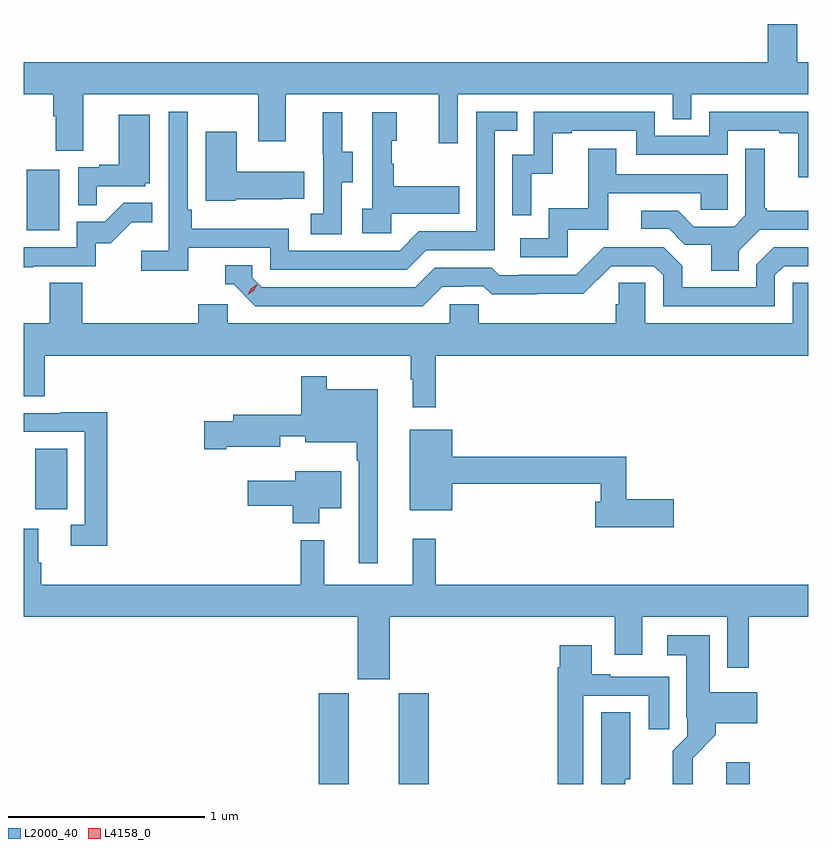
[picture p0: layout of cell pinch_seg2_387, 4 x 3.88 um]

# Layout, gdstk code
import gdstk
lib = gdstk.Library(unit=1e-6, precision=1e-09)
def R(c, l, rs):  # rectangles x0, y0, x1, y1
    for r in rs: c.add(gdstk.rectangle(r[:2], r[2:], *l))
def P(c, l, *ps):  # polygons
    for p in ps: c.add(gdstk.Polygon(p, *l))
L2000_40 = (2000, 40)
L4158_0 = (4158, 0)

pinch_seg2_387 = lib.new_cell('pinch_seg2_387')
R(pinch_seg2_387, L2000_40, [(984.434,608.156,984.586,608.619), (984.842,608.156,984.995,608.619), (986.513,608.156,986.631,608.266), (982.988,609.558,983.152,609.865), (982.946,610.98,983.11,611.287)])
P(pinch_seg2_387, L2000_40, [(983.233,611.672),(984.125,611.672),(984.125,611.433),(984.265,611.433),(984.265,611.672),(985.046,611.672),(985.046,611.424),(985.143,611.424),(985.143,611.672),(986.238,611.672),(986.238,611.545),(986.334,611.545),(986.334,611.672),(986.93,611.672),(986.93,611.836),(986.875,611.836),(986.875,612.031),(986.723,612.031),(986.723,611.836),(982.93,611.836),(982.93,611.672),(983.081,611.672),(983.081,611.56),(983.093,611.56),(983.093,611.386),(983.233,611.386)],
  [(983.768,610.89),(984.186,610.89),(984.186,610.779),(984.883,610.779),(984.982,610.878),(985.332,610.878),(985.332,611.487),(985.445,611.487),(985.445,611.583),(985.236,611.583),(985.236,610.974),(984.945,610.974),(984.846,610.875),(984.282,610.875),(984.282,610.987),(983.786,610.987),(983.786,611.083),(983.766,611.083),(983.766,611.584),(983.67,611.584),(983.67,610.876),(983.529,610.876),(983.529,610.774),(983.768,610.774)],
  [(985.518,611.267),(985.628,611.267),(985.628,611.475),(985.723,611.475),(985.723,611.487),(986.052,611.487),(986.052,611.364),(986.52,611.364),(986.52,611.487),(986.783,611.487),(986.783,611.475),(986.879,611.475),(986.879,611.249),(986.93,611.249),(986.93,611.583),(986.424,611.583),(986.424,611.46),(986.148,611.46),(986.148,611.583),(985.53,611.583),(985.53,611.364),(985.422,611.364),(985.422,611.055),(985.518,611.055)],
  [(984.804,611.063),(985.151,611.063),(985.151,611.203),(984.817,611.203),(984.817,611.318),(984.807,611.318),(984.807,611.436),(984.832,611.436),(984.832,611.581),(984.708,611.581),(984.708,611.09),(984.657,611.09),(984.657,610.965),(984.804,610.965)],
  [(984.552,611.224),(984.607,611.224),(984.607,611.379),(984.553,611.379),(984.553,611.581),(984.455,611.581),(984.455,611.367),(984.456,611.367),(984.456,611.063),(984.393,611.063),(984.393,610.96),(984.552,610.96)],
  [(983.303,611.205),(983.55,611.205),(983.55,611.22),(983.572,611.22),(983.572,611.569),(983.414,611.569),(983.414,611.314),(983.315,611.314),(983.315,611.301),(983.208,611.301),(983.208,611.107),(983.303,611.107)],
  [(984.012,611.138),(984.251,611.138),(984.251,611.141),(984.359,611.141),(984.359,611.278),(984.016,611.278),(984.016,611.482),(983.858,611.482),(983.858,611.129),(984.012,611.129)],
  [(986.575,610.876),(986.682,610.983),(986.93,610.983),(986.93,611.08),(986.719,611.08),(986.719,611.092),(986.707,611.092),(986.707,611.395),(986.61,611.395),(986.61,611.055),(986.553,610.998),(986.347,610.998),(986.266,611.079),(986.079,611.079),(986.079,610.986),(986.22,610.986),(986.3,610.906),(986.435,610.906),(986.435,610.774),(986.575,610.774)],
  [(985.704,610.983),(985.909,610.983),(985.909,611.169),(986.383,611.169),(986.383,611.085),(986.52,611.085),(986.52,611.265),(985.951,611.265),(985.951,611.395),(985.807,611.395),(985.807,611.092),(985.608,611.092),(985.608,610.938),(985.461,610.938),(985.461,610.842),(985.704,610.842)],
  [(982.979,610.797),(983.298,610.797),(983.298,610.914),(983.374,610.914),(983.481,611.021),(983.585,611.021),(983.585,611.12),(983.441,611.12),(983.343,611.022),(983.199,611.022),(983.199,610.893),(982.93,610.893),(982.93,610.792),(982.979,610.792)],
  [(985.063,610.692),(985.17,610.692),(985.17,610.695),(985.273,610.695),(985.315,610.653),(985.548,610.653),(985.548,610.655),(985.784,610.655),(985.926,610.797),(986.142,610.797),(986.19,610.749),(986.19,610.593),(986.76,610.593),(986.76,610.749),(986.808,610.797),(986.93,610.797),(986.93,610.893),(986.754,610.893),(986.664,610.803),(986.664,610.689),(986.287,610.689),(986.287,610.799),(986.193,610.893),(985.887,610.893),(985.746,610.752),(985.453,610.752),(985.453,610.749),(985.354,610.749),(985.315,610.788),(985.026,610.788),(984.927,610.689),(984.144,610.689),(984.096,610.737),(984.096,610.8),(983.957,610.8),(983.957,610.704),(984,610.704),(984.111,610.593),(984.964,610.593)],
  [(985.031,610.34),(986.93,610.34),(986.93,610.712),(986.85,610.712),(986.85,610.504),(986.1,610.504),(986.1,610.712),(985.963,610.712),(985.963,610.602),(985.949,610.602),(985.949,610.504),(985.251,610.504),(985.251,610.602),(985.101,610.602),(985.101,610.504),(983.97,610.504),(983.97,610.602),(983.819,610.602),(983.819,610.504),(983.228,610.504),(983.228,610.712),(983.063,610.712),(983.063,610.504),(982.93,610.504),(982.93,610.132),(983.036,610.132),(983.036,610.34),(984.903,610.34),(984.903,610.217),(984.914,610.217),(984.914,610.077),(985.031,610.077)],
  [(984.736,610.168),(984.475,610.168),(984.475,610.234),(984.346,610.234),(984.346,610.039),(983.999,610.039),(983.999,610.005),(983.85,610.005),(983.85,609.863),(983.962,609.863),(983.962,609.875),(984.238,609.875),(984.238,609.929),(984.365,609.929),(984.365,609.899),(984.627,609.899),(984.627,609.803),(984.639,609.803),(984.639,609.282),(984.736,609.282)],
  [(983.357,610.052),(983.119,610.052),(983.119,610.047),(982.93,610.047),(982.93,609.951),(983.241,609.951),(983.241,609.477),(983.169,609.477),(983.169,609.372),(983.357,609.372)],
  [(986.245,609.608),(986.003,609.608),(986.003,609.824),(985.114,609.824),(985.114,609.961),(984.899,609.961),(984.899,609.551),(985.114,609.551),(985.114,609.688),(985.871,609.688),(985.871,609.595),(985.844,609.595),(985.844,609.466),(986.245,609.466)],
  [(984.436,609.563),(984.55,609.563),(984.55,609.751),(984.314,609.751),(984.314,609.703),(984.072,609.703),(984.072,609.574),(984.302,609.574),(984.302,609.485),(984.436,609.485)],
  [(984.796,609.008),(985.943,609.008),(985.943,608.814),(986.083,608.814),(986.083,609.008),(986.517,609.008),(986.517,608.748),(986.626,608.748),(986.626,609.008),(986.93,609.008),(986.93,609.172),(985.031,609.172),(985.031,609.406),(984.914,609.406),(984.914,609.172),(984.461,609.172),(984.461,609.4),(984.343,609.4),(984.343,609.172),(983.018,609.172),(983.018,609.284),(983.005,609.284),(983.005,609.458),(982.93,609.458),(982.93,609.008),(984.632,609.008),(984.632,608.691),(984.796,608.691)],
  [(986.341,608.288),(986.459,608.406),(986.459,608.465),(986.671,608.465),(986.671,608.623),(986.428,608.623),(986.428,608.914),(986.211,608.914),(986.211,608.813),(986.309,608.813),(986.309,608.494),(986.313,608.494),(986.313,608.4),(986.239,608.326),(986.239,608.156),(986.341,608.156)],
  [(985.783,608.607),(986.117,608.607),(986.117,608.436),(986.221,608.436),(986.221,608.703),(985.921,608.703),(985.921,608.716),(985.825,608.716),(985.825,608.863),(985.664,608.863),(985.664,608.75),(985.652,608.75),(985.652,608.156),(985.783,608.156)],
  [(985.996,608.181),(986.023,608.181),(986.023,608.522),(985.874,608.522),(985.874,608.156),(985.996,608.156)])
P(pinch_seg2_387, L4158_0, [(984.073,610.651),(984.073,610.651),(984.089,610.684),(984.121,610.703),(984.121,610.703),(984.121,610.702),(984.104,610.67),(984.073,610.651)])

lib.write_gds('pinch_seg2_387.gds')
